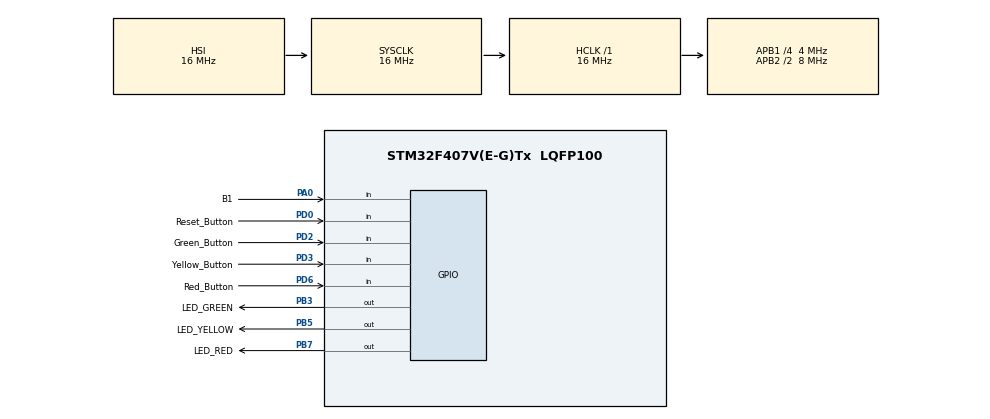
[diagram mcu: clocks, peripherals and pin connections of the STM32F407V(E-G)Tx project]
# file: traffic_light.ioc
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Mcu.Family=STM32F4
Mcu.Name=STM32F407V(E-G)Tx
Mcu.Package=LQFP100
NVIC.PriorityGroup=NVIC_PRIORITYGROUP_0
NVIC.TIM2_IRQn=true\:0\:0\:false\:false\:true\:true\:true\:true
PA0-WKUP.GPIO_Label=B1
PA0-WKUP.Signal=GPIO_Input
PB3.GPIO_Label=LED_GREEN
PB3.Signal=GPIO_Output
PB5.GPIO_Label=LED_YELLOW
PB5.Signal=GPIO_Output
PB7.GPIO_Label=LED_RED
PB7.Signal=GPIO_Output
PD0.GPIO_Label=Reset_Button
PD0.GPIO_PuPd=GPIO_PULLUP
PD0.Signal=GPIO_Input
PD2.GPIO_Label=Green_Button
PD2.GPIO_PuPd=GPIO_PULLUP
PD2.Signal=GPIO_Input
PD3.GPIO_Label=Yellow_Button
PD3.GPIO_PuPd=GPIO_PULLUP
PD3.Signal=GPIO_Input
PD6.GPIO_Label=Red_Button
PD6.GPIO_PuPd=GPIO_PULLUP
PD6.Signal=GPIO_Input
ProjectManager.HeapSize=0x200
ProjectManager.StackSize=0x400
ProjectManager.TargetToolchain=STM32CubeIDE
RCC.48MHZClocksFreq_Value=96000000
RCC.AHBFreq_Value=16000000
RCC.APB1CLKDivider=RCC_HCLK_DIV4
RCC.APB1Freq_Value=4000000
RCC.APB1TimFreq_Value=8000000
RCC.APB2CLKDivider=RCC_HCLK_DIV2
RCC.APB2Freq_Value=8000000
RCC.APB2TimFreq_Value=16000000
RCC.CortexFreq_Value=16000000
RCC.HCLKFreq_Value=16000000
RCC.HSE_VALUE=8000000
RCC.HSI_VALUE=16000000
RCC.LSE_VALUE=32768
RCC.PLLM=8
RCC.PLLN=336
RCC.PLLQ=7
RCC.SYSCLKFreq_VALUE=16000000
RCC.VCOOutputFreq_Value=672000000
TIM2.Period=99
TIM2.Prescaler=1599
VP_TIM2_VS_ClockSourceINT.Mode=Internal
board=STM32F407G-DISC1

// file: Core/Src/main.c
/* USER CODE BEGIN Header */
/**
  ******************************************************************************
  * @file           : main.c
  * @brief          : Main program body
  ******************************************************************************
  * @attention
  *
  * Copyright (c) 2024 STMicroelectronics.
  * All rights reserved.
  *
  * This software is licensed under terms that can be found in the LICENSE file
  * in the root directory of this software component.
  * If no LICENSE file comes with this software, it is provided AS-IS.
  *
  ******************************************************************************
  */
/* USER CODE END Header */
#include "main.h"

/* USER CODE BEGIN Includes */
#include "timer.h"
/* USER CODE END Includes */

TIM_HandleTypeDef htim2;

void SystemClock_Config(void);
static void MX_GPIO_Init(void);
static void MX_TIM2_Init(void);

int main(void)
{

  /* MCU Configuration--------------------------------------------------------*/

  /* Reset of all peripherals, Initializes the Flash interface and the Systick. */
  HAL_Init();

  /* Configure the system clock */
  SystemClock_Config();

  /* Initialize all configured peripherals */
  MX_GPIO_Init();
  MX_TIM2_Init();
  /* USER CODE BEGIN 2 */
  HAL_TIM_Base_Start_IT(&htim2);
  /* USER CODE END 2 */

  /* Infinite loop */
  /* USER CODE BEGIN WHILE */
  while (1)
  {
		// Check RED_BUTTON
		state_red_button[1] = HAL_GPIO_ReadPin(Red_Button_GPIO_Port, Red_Button_Pin);
		if (state_red_button[0] != state_red_button[1]) {
			state_red_button[0] = state_red_button[1];
			if (state_red_button[1] == PRESSED_STATE) {
				led_mode = 0;
				//TODO
				manual_light(RED);
			}
		}
		// Check GREEN_BUTTON
		state_green_button[1] = HAL_GPIO_ReadPin(Green_Button_GPIO_Port, Green_Button_Pin);
		if (state_green_button[0] != state_green_button[1]) {
			state_green_button[0] = state_green_button[1];
			if (state_green_button[1] == PRESSED_STATE) {
				led_mode = 0;
				//TODO
				manual_light(GREEN);
			}
		}
		// Check YELLOW_BUTTON
		state_yellow_button[1] = HAL_GPIO_ReadPin(Yellow_Button_GPIO_Port, Yellow_Button_Pin);
		if (state_yellow_button[0] != state_yellow_button[1]) {
			state_yellow_button[0] = state_yellow_button[1];
			if (state_yellow_button[1] == PRESSED_STATE) {
				led_mode = 2;
				turn_off_light();
				led_status = 0;
				HAL_GPIO_WritePin(LED_YELLOW_GPIO_Port, LED_YELLOW_Pin, SET);
			}
		}
		// Check RESET_BUTTON
		state_reset_button[1] = HAL_GPIO_ReadPin(Reset_Button_GPIO_Port, Reset_Button_Pin);
		if (state_reset_button[0] != state_reset_button[1]) {
			state_reset_button[0] = state_reset_button[1];
			if (state_reset_button[1] == PRESSED_STATE)
				reset_light();
		}
    /* USER CODE END WHILE */

  }
}

void SystemClock_Config(void)
{
  RCC_OscInitTypeDef RCC_OscInitStruct = {0};
  RCC_ClkInitTypeDef RCC_ClkInitStruct = {0};

  /** Configure the main internal regulator output voltage
  */
  __HAL_RCC_PWR_CLK_ENABLE();
  __HAL_PWR_VOLTAGESCALING_CONFIG(PWR_REGULATOR_VOLTAGE_SCALE1);

  /** Initializes the RCC Oscillators according to the specified parameters
  * in the RCC_OscInitTypeDef structure.
  */
  RCC_OscInitStruct.OscillatorType = RCC_OSCILLATORTYPE_HSI;
  RCC_OscInitStruct.HSIState = RCC_HSI_ON;
  RCC_OscInitStruct.HSICalibrationValue = RCC_HSICALIBRATION_DEFAULT;
  RCC_OscInitStruct.PLL.PLLState = RCC_PLL_NONE;
  if (HAL_RCC_OscConfig(&RCC_OscInitStruct) != HAL_OK)
  {
    Error_Handler();
  }

  /** Initializes the CPU, AHB and APB buses clocks
  */
  RCC_ClkInitStruct.ClockType = RCC_CLOCKTYPE_HCLK|RCC_CLOCKTYPE_SYSCLK
                              |RCC_CLOCKTYPE_PCLK1|RCC_CLOCKTYPE_PCLK2;
  RCC_ClkInitStruct.SYSCLKSource = RCC_SYSCLKSOURCE_HSI;
  RCC_ClkInitStruct.AHBCLKDivider = RCC_SYSCLK_DIV1;
  RCC_ClkInitStruct.APB1CLKDivider = RCC_HCLK_DIV4;
  RCC_ClkInitStruct.APB2CLKDivider = RCC_HCLK_DIV2;

  if (HAL_RCC_ClockConfig(&RCC_ClkInitStruct, FLASH_LATENCY_0) != HAL_OK)
  {
    Error_Handler();
  }
}

static void MX_TIM2_Init(void)
{

  TIM_ClockConfigTypeDef sClockSourceConfig = {0};
  TIM_MasterConfigTypeDef sMasterConfig = {0};

  htim2.Instance = TIM2;
  htim2.Init.Prescaler = 1599;
  htim2.Init.CounterMode = TIM_COUNTERMODE_UP;
  htim2.Init.Period = 99;
  htim2.Init.ClockDivision = TIM_CLOCKDIVISION_DIV1;
  htim2.Init.AutoReloadPreload = TIM_AUTORELOAD_PRELOAD_DISABLE;
  if (HAL_TIM_Base_Init(&htim2) != HAL_OK)
  {
    Error_Handler();
  }
  sClockSourceConfig.ClockSource = TIM_CLOCKSOURCE_INTERNAL;
  if (HAL_TIM_ConfigClockSource(&htim2, &sClockSourceConfig) != HAL_OK)
  {
    Error_Handler();
  }
  sMasterConfig.MasterOutputTrigger = TIM_TRGO_RESET;
  sMasterConfig.MasterSlaveMode = TIM_MASTERSLAVEMODE_DISABLE;
  if (HAL_TIMEx_MasterConfigSynchronization(&htim2, &sMasterConfig) != HAL_OK)
  {
    Error_Handler();
  }

}

static void MX_GPIO_Init(void)
{
  GPIO_InitTypeDef GPIO_InitStruct = {0};

  /* GPIO Ports Clock Enable */
  __HAL_RCC_GPIOA_CLK_ENABLE();
  __HAL_RCC_GPIOD_CLK_ENABLE();
  __HAL_RCC_GPIOB_CLK_ENABLE();

  /*Configure GPIO pin Output Level */
  HAL_GPIO_WritePin(GPIOB, LED_GREEN_Pin|LED_YELLOW_Pin|LED_RED_Pin, GPIO_PIN_RESET);

  /*Configure GPIO pin : B1_Pin */
  GPIO_InitStruct.Pin = B1_Pin;
  GPIO_InitStruct.Mode = GPIO_MODE_INPUT;
  GPIO_InitStruct.Pull = GPIO_NOPULL;
  HAL_GPIO_Init(B1_GPIO_Port, &GPIO_InitStruct);

  /*Configure GPIO pins : Reset_Button_Pin Green_Button_Pin Yellow_Button_Pin Red_Button_Pin */
  GPIO_InitStruct.Pin = Reset_Button_Pin|Green_Button_Pin|Yellow_Button_Pin|Red_Button_Pin;
  GPIO_InitStruct.Mode = GPIO_MODE_INPUT;
  GPIO_InitStruct.Pull = GPIO_PULLUP;
  HAL_GPIO_Init(GPIOD, &GPIO_InitStruct);

  /*Configure GPIO pins : LED_GREEN_Pin LED_YELLOW_Pin LED_RED_Pin */
  GPIO_InitStruct.Pin = LED_GREEN_Pin|LED_YELLOW_Pin|LED_RED_Pin;
  GPIO_InitStruct.Mode = GPIO_MODE_OUTPUT_PP;
  GPIO_InitStruct.Pull = GPIO_NOPULL;
  GPIO_InitStruct.Speed = GPIO_SPEED_FREQ_LOW;
  HAL_GPIO_Init(GPIOB, &GPIO_InitStruct);

/* USER CODE BEGIN MX_GPIO_Init_2 */
  HAL_GPIO_WritePin(GPIOB, LED_YELLOW_Pin, GPIO_PIN_SET);
/* USER CODE END MX_GPIO_Init_2 */
}

/* USER CODE BEGIN 4 */
void HAL_TIM_PeriodElapsedCallback(TIM_HandleTypeDef *htim) {
	runLight();
}
/* USER CODE END 4 */

void Error_Handler(void)
{
  __disable_irq();
  while (1)
  {
  }
}
